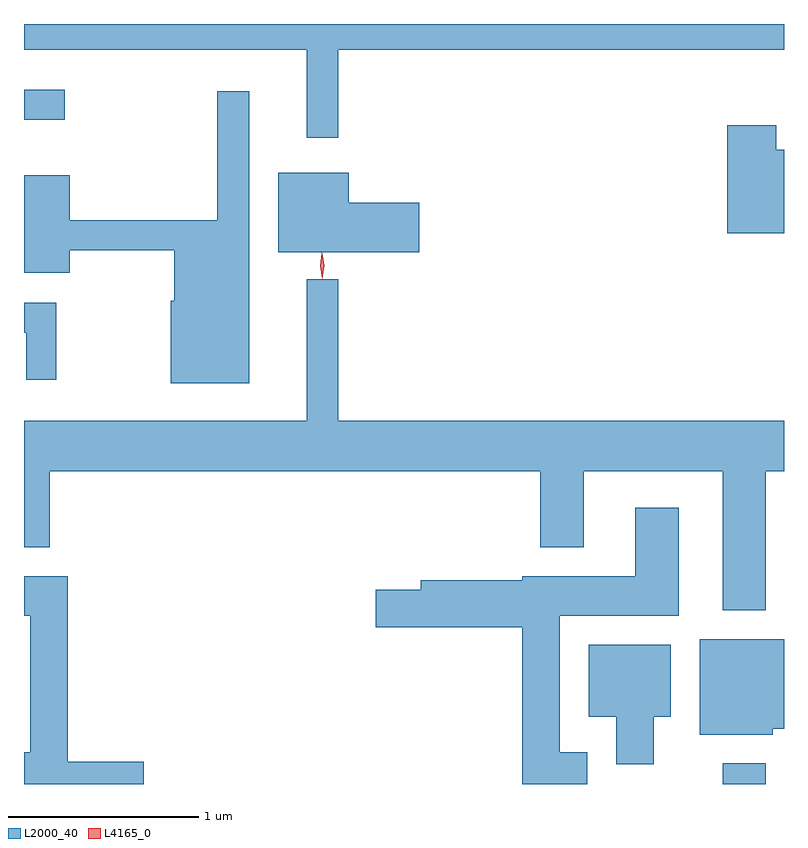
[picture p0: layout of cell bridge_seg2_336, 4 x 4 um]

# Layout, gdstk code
import gdstk
lib = gdstk.Library(unit=1e-6, precision=1e-09)
def R(c, l, rs):  # rectangles x0, y0, x1, y1
    for r in rs: c.add(gdstk.rectangle(r[:2], r[2:], *l))
def P(c, l, *ps):  # polygons
    for p in ps: c.add(gdstk.Polygon(p, *l))
L2000_40 = (2000, 40)
L4165_0 = (4165, 0)

bridge_seg2_336 = lib.new_cell('bridge_seg2_336')
R(bridge_seg2_336, L2000_40, [(442.791,1020.031,443.019,1020.139), (439.114,1023.526,439.328,1023.684)])
P(bridge_seg2_336, L2000_40, [(440.769,1023.896),(443.114,1023.896),(443.114,1024.031),(439.114,1024.031),(439.114,1023.896),(440.601,1023.896),(440.601,1023.433),(440.769,1023.433)],
  [(440.299,1023.678),(440.131,1023.678),(440.131,1022.999),(439.354,1022.999),(439.354,1023.234),(439.114,1023.234),(439.114,1022.721),(439.354,1022.721),(439.354,1022.841),(439.906,1022.841),(439.906,1022.574),(439.886,1022.574),(439.886,1022.141),(440.299,1022.141)],
  [(443.114,1023.369),(443.074,1023.369),(443.074,1023.499),(442.816,1023.499),(442.816,1022.931),(443.114,1022.931)],
  [(441.194,1023.089),(440.824,1023.089),(440.824,1023.249),(440.451,1023.249),(440.451,1022.831),(441.194,1022.831)],
  [(443.019,1021.676),(443.114,1021.676),(443.114,1021.944),(440.769,1021.944),(440.769,1022.688),(440.601,1022.688),(440.601,1021.944),(439.114,1021.944),(439.114,1021.276),(439.249,1021.276),(439.249,1021.676),(441.831,1021.676),(441.831,1021.276),(442.059,1021.276),(442.059,1021.676),(442.791,1021.676),(442.791,1020.946),(443.019,1020.946)],
  [(439.284,1022.564),(439.114,1022.564),(439.114,1022.406),(439.126,1022.406),(439.126,1022.158),(439.284,1022.158)],
  [(442.079,1020.199),(441.934,1020.199),(441.934,1020.916),(442.559,1020.916),(442.559,1021.484),(442.331,1021.484),(442.331,1021.124),(441.736,1021.124),(441.736,1021.104),(441.201,1021.104),(441.201,1021.054),(440.966,1021.054),(440.966,1020.856),(441.736,1020.856),(441.736,1020.031),(442.079,1020.031)],
  [(439.744,1020.149),(439.344,1020.149),(439.344,1021.124),(439.114,1021.124),(439.114,1020.916),(439.146,1020.916),(439.146,1020.199),(439.114,1020.199),(439.114,1020.031),(439.744,1020.031)],
  [(443.054,1020.321),(443.114,1020.321),(443.114,1020.794),(442.671,1020.794),(442.671,1020.291),(443.054,1020.291)],
  [(442.429,1020.386),(442.519,1020.386),(442.519,1020.764),(442.086,1020.764),(442.086,1020.386),(442.231,1020.386),(442.231,1020.136),(442.429,1020.136)])
P(bridge_seg2_336, L4165_0, [(440.683,1022.69),(440.683,1022.69),(440.673,1022.758),(440.682,1022.825),(440.682,1022.826),(440.683,1022.825),(440.693,1022.758),(440.684,1022.69)],
  [(440.683,1022.693),(440.683,1022.693),(440.673,1022.756),(440.682,1022.82),(440.683,1022.82),(440.683,1022.82),(440.693,1022.756),(440.684,1022.693)])

lib.write_gds('bridge_seg2_336.gds')
